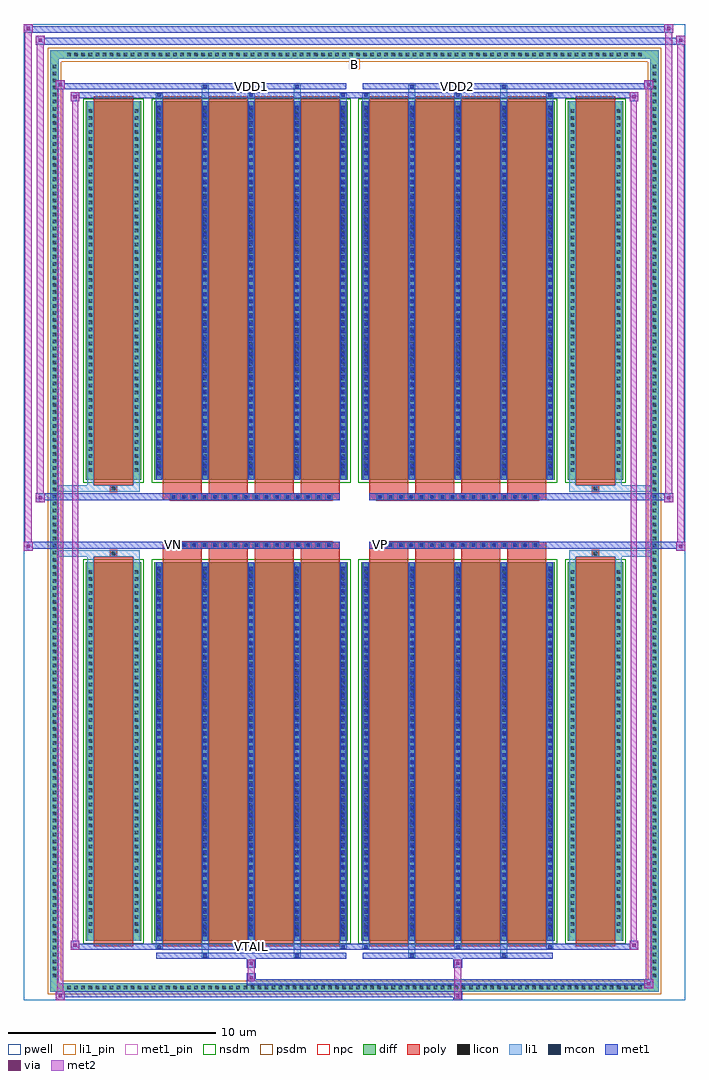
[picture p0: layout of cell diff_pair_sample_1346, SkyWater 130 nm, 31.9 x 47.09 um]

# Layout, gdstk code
import gdstk
lib = gdstk.Library(unit=1e-6, precision=5e-09)
def R(c, l, rs):  # rectangles x0, y0, x1, y1
    for r in rs: c.add(gdstk.rectangle(r[:2], r[2:], *l))
def A(c, l, x, y, w, h, nx, ny, dx, dy):  # array of equal rectangles
    R(c, l, [(x+i*dx, y+j*dy, x+i*dx+w, y+j*dy+h) for i in range(nx) for j in range(ny)])
def P(c, l, *ps):  # polygons
    for p in ps: c.add(gdstk.Polygon(p, *l))
pwell = (64, 44)
diff = (65, 20)
poly = (66, 20)
licon = (66, 44)
li1_pin = (67, 16)
li1 = (67, 20)
mcon = (67, 44)
met1_pin = (68, 16)
met1 = (68, 20)
via = (68, 44)
met2 = (69, 20)
nsdm = (93, 44)
psdm = (94, 20)
npc = (95, 20)

diff_pair_sample_1346 = lib.new_cell('diff_pair_sample_1346')
R(diff_pair_sample_1346, pwell, [(-15.95,-23.11,15.95,23.98), (-13.27,-21.3,-0.01,-0.8), (0.01,-21.3,13.27,-0.8), (-13.27,0.8,-0.01,21.3), (0.01,0.8,13.27,21.3)])
A(diff_pair_sample_1346, diff, -13.975, -22.71, 0.41, 0.41, 82, 2, 0.34, 45.01)
A(diff_pair_sample_1346, diff, -14.68, -22.135, 0.41, 0.41, 1, 130, 0, 0.34)
A(diff_pair_sample_1346, diff, 14.27, -22.135, 0.41, 0.41, 1, 130, 0, 0.34)
R(diff_pair_sample_1346, diff, [(-13.975,-22.71,13.975,-22.3), (-14.68,-22.135,-14.27,22.135), (14.27,-22.135,14.68,22.135), (-12.96,-20.255,-10.29,-1.985), (-9.65,-20.255,-0.32,-1.985), (0.32,-20.255,9.65,-1.985), (10.29,-20.255,12.96,-1.985), (-12.96,1.985,-10.29,20.255), (-9.65,1.985,-0.32,20.255), (0.32,1.985,9.65,20.255), (10.29,1.985,12.96,20.255), (-13.975,22.3,13.975,22.71)])
P(diff_pair_sample_1346, diff, [(14.68,22.71),(-14.68,22.71),(-14.68,-22.3),(-14.27,-22.3),(-14.27,22.3),(14.27,22.3),(14.27,-22.3),(-14.27,-22.3),(-14.68,-22.3),(-14.68,-22.71),(14.68,-22.71)])
A(diff_pair_sample_1346, poly, -9.26, -20.505, 1.89, 18.77, 4, 2, 2.22, 22.24)
A(diff_pair_sample_1346, poly, 0.71, -20.505, 1.89, 18.77, 4, 2, 2.22, 22.24)
A(diff_pair_sample_1346, poly, -9.26, -1.735, 1.89, 0.405, 4, 2, 2.22, 3.065)
A(diff_pair_sample_1346, poly, 0.71, -1.735, 1.89, 0.405, 4, 2, 2.22, 3.065)
A(diff_pair_sample_1346, poly, -8.9, -1.33, 0.33, 0.33, 16, 2, 0.5, 2.33)
A(diff_pair_sample_1346, poly, 1.07, -1.33, 0.33, 0.33, 16, 2, 0.5, 2.33)
R(diff_pair_sample_1346, poly, [(-12.57,-20.505,-10.68,-1.735), (10.68,-20.505,12.57,-1.735), (-11.79,-1.735,-11.46,-1.405), (-11.79,-1.735,-11.46,-1.405), (11.46,-1.735,11.79,-1.405), (11.46,-1.735,11.79,-1.405), (-9.26,-1.33,-0.71,-1), (0.71,-1.33,9.26,-1), (-9.26,1,-0.71,1.33), (0.71,1,9.26,1.33), (-11.79,1.405,-11.46,1.735), (-11.79,1.405,-11.46,1.735), (11.46,1.405,11.79,1.735), (11.46,1.405,11.79,1.735), (-12.57,1.735,-10.68,20.505), (10.68,1.735,12.57,20.505)])
A(diff_pair_sample_1346, licon, -13.855, -22.59, 0.17, 0.17, 82, 2, 0.34, 45.01)
A(diff_pair_sample_1346, licon, -14.56, -22.015, 0.17, 0.17, 1, 130, 0, 0.34)
A(diff_pair_sample_1346, licon, 14.39, -22.015, 0.17, 0.17, 1, 130, 0, 0.34)
A(diff_pair_sample_1346, licon, -12.82, -19.875, 0.17, 0.17, 1, 52, 0, 0.34)
A(diff_pair_sample_1346, licon, -10.6, -19.875, 0.17, 0.17, 1, 52, 0, 0.34)
A(diff_pair_sample_1346, licon, -9.51, -19.875, 0.17, 0.17, 5, 52, 2.22, 0.34)
A(diff_pair_sample_1346, licon, 0.46, -19.875, 0.17, 0.17, 5, 52, 2.22, 0.34)
A(diff_pair_sample_1346, licon, 10.43, -19.875, 0.17, 0.17, 1, 52, 0, 0.34)
A(diff_pair_sample_1346, licon, 12.65, -19.875, 0.17, 0.17, 1, 52, 0, 0.34)
A(diff_pair_sample_1346, licon, -8.82, -1.25, 0.17, 0.17, 16, 2, 0.5, 2.33)
A(diff_pair_sample_1346, licon, 1.15, -1.25, 0.17, 0.17, 16, 2, 0.5, 2.33)
A(diff_pair_sample_1346, licon, -12.82, 2.365, 0.17, 0.17, 1, 52, 0, 0.34)
A(diff_pair_sample_1346, licon, -10.6, 2.365, 0.17, 0.17, 1, 52, 0, 0.34)
A(diff_pair_sample_1346, licon, -9.51, 2.365, 0.17, 0.17, 5, 52, 2.22, 0.34)
A(diff_pair_sample_1346, licon, 0.46, 2.365, 0.17, 0.17, 5, 52, 2.22, 0.34)
A(diff_pair_sample_1346, licon, 10.43, 2.365, 0.17, 0.17, 1, 52, 0, 0.34)
A(diff_pair_sample_1346, licon, 12.65, 2.365, 0.17, 0.17, 1, 52, 0, 0.34)
R(diff_pair_sample_1346, licon, [(-11.71,-1.655,-11.54,-1.485), (11.54,-1.655,11.71,-1.485), (-11.71,1.485,-11.54,1.655), (11.54,1.485,11.71,1.655)])
R(diff_pair_sample_1346, li1_pin, [(-0.25,21.8,0.25,22.3)])
A(diff_pair_sample_1346, li1, -13.935, -22.67, 0.33, 0.33, 82, 2, 0.34, 45.01)
A(diff_pair_sample_1346, li1, -14.64, -22.095, 0.33, 0.33, 1, 130, 0, 0.34)
A(diff_pair_sample_1346, li1, 14.31, -22.095, 0.33, 0.33, 1, 130, 0, 0.34)
A(diff_pair_sample_1346, li1, -9.59, -20.63, 0.33, 0.375, 3, 2, 4.44, 40.885)
A(diff_pair_sample_1346, li1, -9.51, -20.63, 0.17, 0.17, 3, 2, 4.44, 41.09)
A(diff_pair_sample_1346, li1, 0.38, -20.63, 0.33, 0.375, 3, 2, 4.44, 40.885)
A(diff_pair_sample_1346, li1, 0.46, -20.63, 0.17, 0.17, 3, 2, 4.44, 41.09)
A(diff_pair_sample_1346, li1, -9.59, -20.255, 0.33, 18.27, 5, 2, 2.22, 22.24)
A(diff_pair_sample_1346, li1, 0.38, -20.255, 0.33, 18.27, 5, 2, 2.22, 22.24)
A(diff_pair_sample_1346, li1, -9.51, -20.025, 0.17, 0.17, 5, 50, 2.22, 0.36)
A(diff_pair_sample_1346, li1, -9.51, -20.025, 0.17, 17.81, 5, 2, 2.22, 22.24)
A(diff_pair_sample_1346, li1, 0.46, -20.025, 0.17, 0.17, 5, 50, 2.22, 0.36)
A(diff_pair_sample_1346, li1, 0.46, -20.025, 0.17, 17.81, 5, 2, 2.22, 22.24)
A(diff_pair_sample_1346, li1, -12.9, -19.955, 0.33, 0.33, 1, 52, 0, 0.34)
A(diff_pair_sample_1346, li1, -10.68, -19.955, 0.33, 0.33, 1, 52, 0, 0.34)
A(diff_pair_sample_1346, li1, -9.59, -19.955, 0.33, 0.33, 5, 52, 2.22, 0.34)
A(diff_pair_sample_1346, li1, 0.38, -19.955, 0.33, 0.33, 5, 52, 2.22, 0.34)
A(diff_pair_sample_1346, li1, 10.35, -19.955, 0.33, 0.33, 1, 52, 0, 0.34)
A(diff_pair_sample_1346, li1, 12.57, -19.955, 0.33, 0.33, 1, 52, 0, 0.34)
A(diff_pair_sample_1346, li1, -8.9, -1.33, 0.33, 0.33, 16, 2, 0.5, 2.33)
A(diff_pair_sample_1346, li1, 1.07, -1.33, 0.33, 0.33, 16, 2, 0.5, 2.33)
A(diff_pair_sample_1346, li1, -9.51, 2.215, 0.17, 0.17, 5, 50, 2.22, 0.36)
A(diff_pair_sample_1346, li1, 0.46, 2.215, 0.17, 0.17, 5, 50, 2.22, 0.36)
A(diff_pair_sample_1346, li1, -12.9, 2.285, 0.33, 0.33, 1, 52, 0, 0.34)
A(diff_pair_sample_1346, li1, -10.68, 2.285, 0.33, 0.33, 1, 52, 0, 0.34)
A(diff_pair_sample_1346, li1, -9.59, 2.285, 0.33, 0.33, 5, 52, 2.22, 0.34)
A(diff_pair_sample_1346, li1, 0.38, 2.285, 0.33, 0.33, 5, 52, 2.22, 0.34)
A(diff_pair_sample_1346, li1, 10.35, 2.285, 0.33, 0.33, 1, 52, 0, 0.34)
A(diff_pair_sample_1346, li1, 12.57, 2.285, 0.33, 0.33, 1, 52, 0, 0.34)
R(diff_pair_sample_1346, li1, [(-14.68,-22.71,-14.27,-22.3), (-14.68,-22.71,-14.27,-22.3), (-14.27,-22.71,14.27,-22.3), (14.27,-22.71,14.68,-22.3), (14.27,-22.71,14.68,-22.3), (-14.68,-22.3,-14.27,22.3), (14.27,-22.3,14.68,22.3), (-7.37,-21.06,-7.04,-20.255), (-7.29,-21.06,-7.12,-20.89), (-2.93,-21.06,-2.6,-20.255), (-2.85,-21.06,-2.68,-20.89), (2.6,-21.06,2.93,-20.255), (2.68,-21.06,2.85,-20.89), (7.04,-21.06,7.37,-20.255), (7.12,-21.06,7.29,-20.89), (-12.9,-20.255,-12.57,-1.985), (-10.68,-20.255,-10.35,-1.985), (10.35,-20.255,10.68,-1.985), (12.57,-20.255,12.9,-1.985), (-12.9,-1.985,-12.57,-1.405), (-10.68,-1.985,-10.35,-1.405), (10.35,-1.985,10.68,-1.405), (12.57,-1.985,12.9,-1.405), (-14.68,-1.735,-11.79,-1.405), (-12.9,-1.735,-11.79,-1.405), (-11.79,-1.735,-11.46,-1.405), (-11.46,-1.735,-10.35,-1.405), (10.35,-1.735,11.46,-1.405), (11.46,-1.735,11.79,-1.405), (11.46,-1.735,14.68,-1.405), (11.79,-1.735,12.9,-1.405), (-14.68,1.405,-11.79,1.735), (-12.9,1.405,-11.79,1.735), (-12.9,1.405,-12.57,1.985), (-11.79,1.405,-11.46,1.735), (-11.46,1.405,-10.35,1.735), (-10.68,1.405,-10.35,1.985), (10.35,1.405,11.46,1.735), (10.35,1.405,10.68,1.985), (11.46,1.405,11.79,1.735), (11.46,1.405,14.68,1.735), (11.79,1.405,12.9,1.735), (12.57,1.405,12.9,1.985), (-12.9,1.985,-12.57,20.255), (-10.68,1.985,-10.35,20.255), (10.35,1.985,10.68,20.255), (12.57,1.985,12.9,20.255), (-7.37,20.255,-7.04,21.06), (-2.93,20.255,-2.6,21.06), (2.6,20.255,2.93,21.06), (7.04,20.255,7.37,21.06), (-7.29,20.89,-7.12,21.06), (-2.85,20.89,-2.68,21.06), (2.68,20.89,2.85,21.06), (7.12,20.89,7.29,21.06), (-14.68,22.3,-14.27,22.71), (-14.68,22.3,-14.27,22.71), (-14.27,22.3,14.27,22.71), (14.27,22.3,14.68,22.71), (14.27,22.3,14.68,22.71)])
A(diff_pair_sample_1346, mcon, -9.51, -20.63, 0.17, 0.17, 3, 2, 4.44, 41.09)
A(diff_pair_sample_1346, mcon, 0.46, -20.63, 0.17, 0.17, 3, 2, 4.44, 41.09)
A(diff_pair_sample_1346, mcon, -9.51, -20.025, 0.17, 0.17, 5, 50, 2.22, 0.36)
A(diff_pair_sample_1346, mcon, 0.46, -20.025, 0.17, 0.17, 5, 50, 2.22, 0.36)
A(diff_pair_sample_1346, mcon, -8.82, -1.25, 0.17, 0.17, 16, 2, 0.5, 2.33)
A(diff_pair_sample_1346, mcon, 1.15, -1.25, 0.17, 0.17, 16, 2, 0.5, 2.33)
A(diff_pair_sample_1346, mcon, -9.51, 2.215, 0.17, 0.17, 5, 50, 2.22, 0.36)
A(diff_pair_sample_1346, mcon, 0.46, 2.215, 0.17, 0.17, 5, 50, 2.22, 0.36)
R(diff_pair_sample_1346, mcon, [(-7.29,-21.06,-7.12,-20.89), (-2.85,-21.06,-2.68,-20.89), (2.68,-21.06,2.85,-20.89), (7.12,-21.06,7.29,-20.89), (-7.29,20.89,-7.12,21.06), (-2.85,20.89,-2.68,21.06), (2.68,20.89,2.85,21.06), (7.12,20.89,7.29,21.06)])
R(diff_pair_sample_1346, met1_pin, [(-5.12,-20.67,-4.85,-20.4), (-8.87,-1.29,-8.6,-1.02), (1.1,-1.29,1.37,-1.02), (-5.12,20.85,-4.85,21.12), (4.85,20.85,5.12,21.12)])
A(diff_pair_sample_1346, met1, -9.57, -20.69, 0.29, 0.29, 3, 2, 4.44, 41.09)
A(diff_pair_sample_1346, met1, 0.4, -20.69, 0.29, 0.29, 3, 2, 4.44, 41.09)
A(diff_pair_sample_1346, met1, -9.57, -20.255, 0.29, 18.27, 5, 2, 2.22, 22.24)
A(diff_pair_sample_1346, met1, 0.4, -20.255, 0.29, 18.27, 5, 2, 2.22, 22.24)
A(diff_pair_sample_1346, met1, -9.57, -20.085, 0.29, 0.29, 5, 50, 2.22, 0.36)
A(diff_pair_sample_1346, met1, 0.4, -20.085, 0.29, 0.29, 5, 50, 2.22, 0.36)
A(diff_pair_sample_1346, met1, -8.88, -1.31, 0.29, 0.29, 16, 2, 0.5, 2.33)
A(diff_pair_sample_1346, met1, 1.09, -1.31, 0.29, 0.29, 16, 2, 0.5, 2.33)
A(diff_pair_sample_1346, met1, -9.57, 2.155, 0.29, 0.29, 5, 50, 2.22, 0.36)
A(diff_pair_sample_1346, met1, 0.4, 2.155, 0.29, 0.29, 5, 50, 2.22, 0.36)
R(diff_pair_sample_1346, met1, [(-14.41,-23.11,-13.98,-22.68), (4.77,-23.11,5.2,-22.68), (-14.41,-22.97,5.2,-22.68), (13.98,-22.54,14.41,-22.11), (-5.2,-22.4,14.41,-22.11), (-5.2,-22.26,-4.77,-21.83), (-5.2,-21.55,-4.77,-21.12), (4.77,-21.55,5.2,-21.12), (-9.57,-21.12,-0.4,-20.83), (-7.35,-21.12,-7.06,-20.83), (-2.91,-21.12,-2.62,-20.83), (0.4,-21.12,9.57,-20.83), (2.62,-21.12,2.91,-20.83), (7.06,-21.12,7.35,-20.83), (-13.7,-20.69,-13.27,-20.26), (-13.7,-20.69,-9.57,-20.4), (-9.57,-20.69,-0.4,-20.4), (-0.4,-20.69,0.4,-20.4), (0.4,-20.69,9.57,-20.4), (9.57,-20.69,13.7,-20.4), (13.27,-20.69,13.7,-20.26), (-15.95,-1.43,-15.52,-1), (15.52,-1.43,15.95,-1), (-15.95,-1.33,-0.71,-1), (-9.26,-1.33,-0.71,-1), (0.71,-1.33,9.26,-1), (0.71,-1.33,15.95,-1), (-15.38,0.9,-14.95,1.33), (14.95,0.9,15.38,1.33), (-15.38,1,-9.26,1.33), (-9.26,1,-0.71,1.33), (0.71,1,9.26,1.33), (9.26,1,15.38,1.33), (-13.7,20.26,-13.27,20.69), (13.27,20.26,13.7,20.69), (-13.7,20.4,-9.57,20.69), (-9.57,20.4,-0.4,20.69), (-0.4,20.4,0.4,20.69), (0.4,20.4,9.57,20.69), (9.57,20.4,13.7,20.69), (-14.41,20.83,-13.98,21.26), (-14.41,20.83,-9.57,21.12), (-9.57,20.83,-0.4,21.12), (-7.35,20.83,-7.06,21.12), (-2.91,20.83,-2.62,21.12), (0.4,20.83,9.57,21.12), (2.62,20.83,2.91,21.12), (7.06,20.83,7.35,21.12), (9.57,20.83,14.41,21.12), (13.98,20.83,14.41,21.26), (-15.38,22.98,-14.95,23.41), (-15.38,22.98,-13.27,23.31), (-13.27,22.98,13.27,23.31), (13.27,22.98,15.95,23.31), (15.52,22.98,15.95,23.41), (-15.95,23.55,-15.52,23.98), (-15.95,23.55,-13.27,23.88), (-13.27,23.55,13.27,23.88), (13.27,23.55,15.38,23.88), (14.95,23.55,15.38,23.98)])
R(diff_pair_sample_1346, via, [(-14.27,-22.97,-14.12,-22.82), (4.91,-22.97,5.06,-22.82), (14.12,-22.4,14.27,-22.25), (-5.06,-22.12,-4.91,-21.97), (-5.06,-21.41,-4.91,-21.26), (4.91,-21.41,5.06,-21.26), (-13.56,-20.55,-13.41,-20.4), (13.41,-20.55,13.56,-20.4), (-15.81,-1.29,-15.66,-1.14), (15.66,-1.29,15.81,-1.14), (-15.24,1.04,-15.09,1.19), (15.09,1.04,15.24,1.19), (-13.56,20.4,-13.41,20.55), (13.41,20.4,13.56,20.55), (-14.27,20.97,-14.12,21.12), (14.12,20.97,14.27,21.12), (-15.24,23.12,-15.09,23.27), (15.66,23.12,15.81,23.27), (-15.81,23.69,-15.66,23.84), (15.09,23.69,15.24,23.84)])
R(diff_pair_sample_1346, met2, [(-14.41,-23.11,-13.98,-22.68), (-14.34,-23.11,-14.05,21.26), (-14.05,-23.11,-13.98,-22.68), (-14.36,-23.06,-14.03,-22.73), (4.82,-23.06,5.15,-22.73), (4.82,-22.73,5.15,-21.5), (13.98,-22.54,14.41,-22.11), (14.05,-22.54,14.34,21.26), (14.34,-22.54,14.41,-22.11), (14.03,-22.49,14.36,-22.16), (-5.15,-22.21,-4.82,-21.88), (-5.15,-21.88,-4.82,-21.5), (-5.15,-21.5,-4.82,-21.17), (4.82,-21.5,5.15,-21.17), (-13.7,-20.69,-13.27,-20.26), (-13.63,-20.69,-13.34,20.69), (-13.34,-20.69,-13.27,-20.26), (13.27,-20.69,13.7,-20.26), (13.34,-20.69,13.63,20.69), (13.63,-20.69,13.7,-20.26), (-13.65,-20.64,-13.32,-20.31), (13.32,-20.64,13.65,-20.31), (-15.95,-1.43,-15.52,-1), (-15.9,-1.43,-15.57,23.98), (-15.57,-1.43,-15.52,-1), (15.52,-1.43,15.95,-1), (15.57,-1.43,15.9,23.41), (15.9,-1.43,15.95,-1), (-15.9,-1.38,-15.57,-1.05), (15.57,-1.38,15.9,-1.05), (-15.38,0.9,-14.95,1.33), (-15.33,0.9,-15,23.41), (-15,0.9,-14.95,1.33), (14.95,0.9,15.38,1.33), (15,0.9,15.33,23.98), (15.33,0.9,15.38,1.33), (-15.33,0.95,-15,1.28), (15,0.95,15.33,1.28), (-13.7,20.26,-13.27,20.69), (-13.34,20.26,-13.27,20.69), (13.27,20.26,13.7,20.69), (13.63,20.26,13.7,20.69), (-13.65,20.31,-13.32,20.64), (13.32,20.31,13.65,20.64), (-14.41,20.83,-13.98,21.26), (-14.05,20.83,-13.98,21.26), (13.98,20.83,14.41,21.26), (14.34,20.83,14.41,21.26), (-14.36,20.88,-14.03,21.21), (14.03,20.88,14.36,21.21), (-15.38,22.98,-14.95,23.41), (-15,22.98,-14.95,23.41), (15.52,22.98,15.95,23.41), (15.9,22.98,15.95,23.41), (-15.33,23.03,-15,23.36), (15.57,23.03,15.9,23.36), (-15.95,23.55,-15.52,23.98), (-15.57,23.55,-15.52,23.98), (14.95,23.55,15.38,23.98), (15.33,23.55,15.38,23.98), (-15.9,23.6,-15.57,23.93), (15,23.6,15.33,23.93)])
R(diff_pair_sample_1346, nsdm, [(-13.09,-20.385,-10.16,-1.855), (-9.78,-20.385,-0.19,-1.855), (0.19,-20.385,9.78,-1.855), (10.16,-20.385,13.09,-1.855), (-13.09,1.855,-10.16,20.385), (-9.78,1.855,-0.19,20.385), (0.19,1.855,9.78,20.385), (10.16,1.855,13.09,20.385)])
P(diff_pair_sample_1346, psdm, [(14.81,22.84),(-14.81,22.84),(-14.81,-22.17),(-14.14,-22.17),(-14.14,22.17),(14.14,22.17),(14.14,-22.17),(-14.14,-22.17),(-14.81,-22.17),(-14.81,-22.84),(14.81,-22.84)])
A(diff_pair_sample_1346, npc, -8.92, -1.35, 0.37, 0.37, 16, 2, 0.5, 2.33)
A(diff_pair_sample_1346, npc, 1.05, -1.35, 0.37, 0.37, 16, 2, 0.5, 2.33)
R(diff_pair_sample_1346, npc, [(-11.81,-1.755,-11.44,-1.385), (11.44,-1.755,11.81,-1.385), (-8.92,-1.35,-8.05,-0.98), (-8.92,-1.35,-8.05,-0.98), (-8.42,-1.35,-7.55,-0.98), (-8.42,-1.35,-7.55,-0.98), (-7.92,-1.35,-7.05,-0.98), (-7.92,-1.35,-7.05,-0.98), (-7.42,-1.35,-6.55,-0.98), (-7.42,-1.35,-6.55,-0.98), (-6.92,-1.35,-6.05,-0.98), (-6.92,-1.35,-6.05,-0.98), (-6.42,-1.35,-5.55,-0.98), (-6.42,-1.35,-5.55,-0.98), (-5.92,-1.35,-5.05,-0.98), (-5.92,-1.35,-5.05,-0.98), (-5.42,-1.35,-4.55,-0.98), (-5.42,-1.35,-4.55,-0.98), (-4.92,-1.35,-4.05,-0.98), (-4.92,-1.35,-4.05,-0.98), (-4.42,-1.35,-3.55,-0.98), (-4.42,-1.35,-3.55,-0.98), (-3.92,-1.35,-3.05,-0.98), (-3.92,-1.35,-3.05,-0.98), (-3.42,-1.35,-2.55,-0.98), (-3.42,-1.35,-2.55,-0.98), (-2.92,-1.35,-2.05,-0.98), (-2.92,-1.35,-2.05,-0.98), (-2.42,-1.35,-1.55,-0.98), (-2.42,-1.35,-1.55,-0.98), (-1.92,-1.35,-1.05,-0.98), (-1.92,-1.35,-1.05,-0.98), (1.05,-1.35,1.92,-0.98), (1.05,-1.35,1.92,-0.98), (1.55,-1.35,2.42,-0.98), (1.55,-1.35,2.42,-0.98), (2.05,-1.35,2.92,-0.98), (2.05,-1.35,2.92,-0.98), (2.55,-1.35,3.42,-0.98), (2.55,-1.35,3.42,-0.98), (3.05,-1.35,3.92,-0.98), (3.05,-1.35,3.92,-0.98), (3.55,-1.35,4.42,-0.98), (3.55,-1.35,4.42,-0.98), (4.05,-1.35,4.92,-0.98), (4.05,-1.35,4.92,-0.98), (4.55,-1.35,5.42,-0.98), (4.55,-1.35,5.42,-0.98), (5.05,-1.35,5.92,-0.98), (5.05,-1.35,5.92,-0.98), (5.55,-1.35,6.42,-0.98), (5.55,-1.35,6.42,-0.98), (6.05,-1.35,6.92,-0.98), (6.05,-1.35,6.92,-0.98), (6.55,-1.35,7.42,-0.98), (6.55,-1.35,7.42,-0.98), (7.05,-1.35,7.92,-0.98), (7.05,-1.35,7.92,-0.98), (7.55,-1.35,8.42,-0.98), (7.55,-1.35,8.42,-0.98), (8.05,-1.35,8.92,-0.98), (8.05,-1.35,8.92,-0.98), (-8.92,0.98,-8.05,1.35), (-8.92,0.98,-8.05,1.35), (-8.42,0.98,-7.55,1.35), (-8.42,0.98,-7.55,1.35), (-7.92,0.98,-7.05,1.35), (-7.92,0.98,-7.05,1.35), (-7.42,0.98,-6.55,1.35), (-7.42,0.98,-6.55,1.35), (-6.92,0.98,-6.05,1.35), (-6.92,0.98,-6.05,1.35), (-6.42,0.98,-5.55,1.35), (-6.42,0.98,-5.55,1.35), (-5.92,0.98,-5.05,1.35), (-5.92,0.98,-5.05,1.35), (-5.42,0.98,-4.55,1.35), (-5.42,0.98,-4.55,1.35), (-4.92,0.98,-4.05,1.35), (-4.92,0.98,-4.05,1.35), (-4.42,0.98,-3.55,1.35), (-4.42,0.98,-3.55,1.35), (-3.92,0.98,-3.05,1.35), (-3.92,0.98,-3.05,1.35), (-3.42,0.98,-2.55,1.35), (-3.42,0.98,-2.55,1.35), (-2.92,0.98,-2.05,1.35), (-2.92,0.98,-2.05,1.35), (-2.42,0.98,-1.55,1.35), (-2.42,0.98,-1.55,1.35), (-1.92,0.98,-1.05,1.35), (-1.92,0.98,-1.05,1.35), (1.05,0.98,1.92,1.35), (1.05,0.98,1.92,1.35), (1.55,0.98,2.42,1.35), (1.55,0.98,2.42,1.35), (2.05,0.98,2.92,1.35), (2.05,0.98,2.92,1.35), (2.55,0.98,3.42,1.35), (2.55,0.98,3.42,1.35), (3.05,0.98,3.92,1.35), (3.05,0.98,3.92,1.35), (3.55,0.98,4.42,1.35), (3.55,0.98,4.42,1.35), (4.05,0.98,4.92,1.35), (4.05,0.98,4.92,1.35), (4.55,0.98,5.42,1.35), (4.55,0.98,5.42,1.35), (5.05,0.98,5.92,1.35), (5.05,0.98,5.92,1.35), (5.55,0.98,6.42,1.35), (5.55,0.98,6.42,1.35), (6.05,0.98,6.92,1.35), (6.05,0.98,6.92,1.35), (6.55,0.98,7.42,1.35), (6.55,0.98,7.42,1.35), (7.05,0.98,7.92,1.35), (7.05,0.98,7.92,1.35), (7.55,0.98,8.42,1.35), (7.55,0.98,8.42,1.35), (8.05,0.98,8.92,1.35), (8.05,0.98,8.92,1.35), (-11.81,1.385,-11.44,1.755), (11.44,1.385,11.81,1.755)])
diff_pair_sample_1346.add(gdstk.Label('VTAIL', (-4.985,-20.535), layer=68, texttype=5))
diff_pair_sample_1346.add(gdstk.Label('VN', (-8.735,-1.155), layer=68, texttype=5))
diff_pair_sample_1346.add(gdstk.Label('VP', (1.235,-1.155), layer=68, texttype=5))
diff_pair_sample_1346.add(gdstk.Label('B', (0,22.05), layer=67, texttype=5))
diff_pair_sample_1346.add(gdstk.Label('VDD2', (4.985,20.985), layer=68, texttype=5))
diff_pair_sample_1346.add(gdstk.Label('VDD1', (-4.985,20.985), layer=68, texttype=5))

lib.write_gds('diff_pair_sample_1346.gds')
